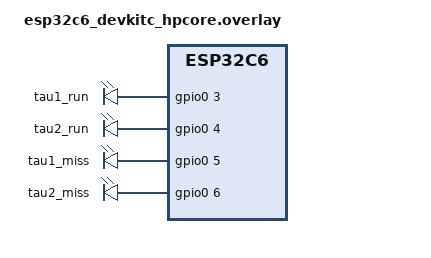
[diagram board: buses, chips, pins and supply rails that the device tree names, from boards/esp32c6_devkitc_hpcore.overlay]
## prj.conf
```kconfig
CONFIG_GPIO=y
CONFIG_SERIAL=y
CONFIG_CONSOLE=y
CONFIG_UART_CONSOLE=y
CONFIG_THREAD_NAME=y

# Both tasks run at one priority under EDF. Slicing would rotate them every
# 20 ms on top of the deadline order, so it stays off in both builds.
CONFIG_TIMESLICING=n
```

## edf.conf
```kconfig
# Week 6 Task A, second run: same two tasks, one static priority, the kernel
# orders them by the absolute deadline each job sets before it blocks.
#   west build ... -- -DEXTRA_CONF_FILE=edf.conf
CONFIG_SCHED_DEADLINE=y
```

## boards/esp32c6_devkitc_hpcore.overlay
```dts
/*
 * ESP32-C6-DevKitC-1 pins for week 6 Task A, on the node's first four
 * analyzer channels (D0..D3 = GPIO3, 4, 5, 6, same cables as weeks 3 to 5).
 *
 * The board enables i2c0 on GPIO6/GPIO7. Nothing here uses I2C, so it is
 * switched off and GPIO6 is a plain output.
 */

#include <zephyr/dt-bindings/gpio/gpio.h>

&i2c0 {
	status = "disabled";
};

/ {
	instr {
		compatible = "gpio-leds";
		tau1_run: tau1_run { gpios = <&gpio0 3 GPIO_ACTIVE_HIGH>; };
		tau2_run: tau2_run { gpios = <&gpio0 4 GPIO_ACTIVE_HIGH>; };
		tau1_miss: tau1_miss { gpios = <&gpio0 5 GPIO_ACTIVE_HIGH>; };
		tau2_miss: tau2_miss { gpios = <&gpio0 6 GPIO_ACTIVE_HIGH>; };
	};
};
```

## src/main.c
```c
/*
 * Week 6, Task A: Buttazzo's Fig. 4.13, live on the node's board.
 *
 *   tau1  C = 2 ms, T = D = 5 ms
 *   tau2  C = 4 ms, T = D = 7 ms        U = 2/5 + 4/7 = 0.971
 *
 * Default build: rate-monotonic priorities, tau1 above tau2. From the shared
 * release at t = 0, tau1 preempts tau2 at t = 5 with one unit left and tau2
 * misses its deadline at t = 7. A late job keeps running and the next release
 * stays on the absolute grid, so the set recovers inside the 35 ms hyperperiod
 * and misses again in the next one: one miss per 35 ms, 1715 in 60 s.
 *
 * With edf.conf (CONFIG_SCHED_DEADLINE=y) both threads share one static
 * priority and the kernel picks the earlier absolute deadline. U <= 1, so
 * nothing misses.
 *
 * Instrumentation, one pin per task plus one per deadline:
 *   tau1_run / tau2_run    high from the job's start to its end, and still
 *                          high while the job is preempted
 *   tau1_miss / tau2_miss  high from the missed deadline to the late job's end
 * The console prints jobs, misses, worst response and worst lateness every 5 s.
 */

#include <zephyr/kernel.h>
#include <zephyr/drivers/gpio.h>
#include <zephyr/sys/printk.h>

#define START_DELAY_MS 500 /* lets the console banner drain before t = 0 */
#define REPORT_MS      5000

#ifdef CONFIG_SCHED_DEADLINE
#define TAU1_PRIO 1 /* EDF orders threads within one priority by deadline */
#define TAU2_PRIO 1
#define POLICY    "EDF"
#else
#define TAU1_PRIO 1 /* RM: the shorter period gets the higher priority */
#define TAU2_PRIO 2
#define POLICY    "RM"
#endif
#define REPORT_PRIO 14 /* below both: it only runs in the 2.9 % they leave */

#define PIN(node) GPIO_DT_SPEC_GET_OR(DT_NODELABEL(node), gpios, {0})

static inline void pin_set(const struct gpio_dt_spec *p, int v)
{
	if (p->port) {
		gpio_pin_set_dt(p, v);
	}
}

/* ---- Computation: a busy-wait that counts work, not time ------------------ */

/* k_busy_wait() spins on the clock: a job preempted halfway would "finish" on
 * time with half its work undone. A loop of N iterations only advances while
 * the thread holds the CPU, which is what C means. N is calibrated at boot. */
static uint32_t loops_per_ms;

static void spin_loops(uint32_t n)
{
	for (volatile uint32_t i = 0; i < n; i++) {
	}
}

static void spin_ms(uint32_t ms)
{
	spin_loops(ms * loops_per_ms);
}

static void calibrate(void)
{
	const uint32_t probe = 200000;

	/* Interrupts locked so nothing stretches the reference run; the first
	 * pass only warms the cache. */
	for (int pass = 0; pass < 2; pass++) {
		unsigned int key = irq_lock();
		uint32_t t0 = k_cycle_get_32();

		spin_loops(probe);
		uint32_t dt = k_cycle_get_32() - t0;

		irq_unlock(key);
		loops_per_ms = (uint64_t)probe * sys_clock_hw_cycles_per_sec() /
			       (1000ULL * dt);
	}
}

/* ---- The task set --------------------------------------------------------- */

struct rt_task {
	const char *name;
	uint32_t c_ms;
	uint32_t t_ms; /* D = T */
	int prio;
	struct gpio_dt_spec run;
	struct gpio_dt_spec miss;
	struct k_timer dl_timer;
	atomic_t busy; /* job released and not finished: read by dl_timer */

	/* written by the task only, read by the reporter */
	uint32_t jobs;
	uint32_t misses;
	uint32_t r_max_us;    /* release -> end */
	uint32_t late_max_us; /* deadline -> end, misses only */
	uint32_t wake_max_us; /* release -> start, under 1 ms: the kernel's wake-up
			       * cost for tau1 under RM, plus the other job's tail
			       * otherwise */
};

static struct rt_task tasks[] = {
	{ .name = "tau1", .c_ms = 2, .t_ms = 5, .prio = TAU1_PRIO,
	  .run = PIN(tau1_run), .miss = PIN(tau1_miss) },
	{ .name = "tau2", .c_ms = 4, .t_ms = 7, .prio = TAU2_PRIO,
	  .run = PIN(tau2_run), .miss = PIN(tau2_miss) },
};

static int64_t start_ms; /* common first release: the critical instant */

/* Fires at each deadline. If the job is still running, it just missed. */
static void dl_expired(struct k_timer *timer)
{
	struct rt_task *t = CONTAINER_OF(timer, struct rt_task, dl_timer);

	if (atomic_get(&t->busy)) {
		pin_set(&t->miss, 1);
	}
}

static uint32_t cyc_to_us(uint64_t cyc)
{
	return (uint32_t)k_cyc_to_us_floor64(cyc);
}

static void task_thread(void *p1, void *p2, void *p3)
{
	struct rt_task *t = p1;
	int64_t release = start_ms;

	ARG_UNUSED(p2);
	ARG_UNUSED(p3);

	for (;;) {
		int64_t deadline = release + t->t_ms;
		/* The kernel keeps cycles = ticks * cycles-per-tick, so a time in ms
		 * maps exactly onto k_cycle_get_64(). */
		uint64_t rel_cyc = k_ms_to_cyc_floor64(release);
		uint64_t dl_cyc = k_ms_to_cyc_floor64(deadline);

#ifdef CONFIG_SCHED_DEADLINE
		/* Before blocking, not after waking: the wake-up already competes
		 * with whatever deadline the thread holds, and setting the new one
		 * later does not reschedule. The run would look like RM. */
		k_thread_absolute_deadline_set(k_current_get(), (int)(uint32_t)dl_cyc);
#endif
		/* A late job must start at once. k_sleep() to an absolute time
		 * already past does not return at once: it still waits for the next
		 * tick, up to 1 ms of idle CPU that makes the following job late as
		 * well. Measured: without this check tau2 missed 717 of 717. */
		if (k_cycle_get_64() < rel_cyc) {
			k_sleep(K_TIMEOUT_ABS_MS(release));
		}

		/* Armed after the wake-up: a job still finishing the previous one
		 * gets here late, and its own deadline only counts once released. */
		atomic_set(&t->busy, 1);
		k_timer_start(&t->dl_timer, K_TIMEOUT_ABS_MS(deadline), K_NO_WAIT);

		uint64_t begin = k_cycle_get_64();

		pin_set(&t->run, 1);
		spin_ms(t->c_ms);
		pin_set(&t->run, 0);

		uint64_t end = k_cycle_get_64();

		atomic_set(&t->busy, 0);
		pin_set(&t->miss, 0);

		t->jobs++;
		t->r_max_us = MAX(t->r_max_us, cyc_to_us(end - rel_cyc));
		if (end > dl_cyc) {
			t->misses++;
			t->late_max_us = MAX(t->late_max_us, cyc_to_us(end - dl_cyc));
		}
		if (begin >= rel_cyc && begin - rel_cyc < k_ms_to_cyc_floor64(1)) {
			t->wake_max_us = MAX(t->wake_max_us, cyc_to_us(begin - rel_cyc));
		}

		release += t->t_ms;
	}
}

K_THREAD_STACK_ARRAY_DEFINE(task_stacks, ARRAY_SIZE(tasks), 1024);
static struct k_thread task_threads[ARRAY_SIZE(tasks)];

int main(void)
{
	for (size_t i = 0; i < ARRAY_SIZE(tasks); i++) {
		struct rt_task *t = &tasks[i];

		if (t->run.port) {
			gpio_pin_configure_dt(&t->run, GPIO_OUTPUT_INACTIVE);
		}
		if (t->miss.port) {
			gpio_pin_configure_dt(&t->miss, GPIO_OUTPUT_INACTIVE);
		}
		k_timer_init(&t->dl_timer, dl_expired, NULL);
	}

	calibrate();

	/* Check the calibration against the clock, uncontended. */
	uint32_t t0 = k_cycle_get_32();

	spin_ms(2);
	uint32_t spin2_us = cyc_to_us(k_cycle_get_32() - t0);

	printk("\nfig413 %s  tau1 C=2 T=5  tau2 C=4 T=7  U=0.971\n", POLICY);
	printk("loops_per_ms=%u  spin_ms(2)=%u us\n", loops_per_ms, spin2_us);

	k_thread_priority_set(k_current_get(), REPORT_PRIO);

	/* Rounded to a whole ms so every release lands on a tick. */
	start_ms = k_uptime_get() + START_DELAY_MS;
	for (size_t i = 0; i < ARRAY_SIZE(tasks); i++) {
		struct rt_task *t = &tasks[i];
		k_tid_t tid = k_thread_create(&task_threads[i], task_stacks[i],
					      K_THREAD_STACK_SIZEOF(task_stacks[i]),
					      task_thread, t, NULL, NULL,
					      t->prio, 0, K_NO_WAIT);
		k_thread_name_set(tid, t->name);
	}

	for (int64_t next = start_ms + REPORT_MS;; next += REPORT_MS) {
		k_sleep(K_TIMEOUT_ABS_MS(next));
		printk("t=%2d s", (int)((next - start_ms) / 1000));
		for (size_t i = 0; i < ARRAY_SIZE(tasks); i++) {
			struct rt_task *t = &tasks[i];

			printk("  %s jobs=%u miss=%u Rmax=%u us late_max=%u us wake_max=%u us",
			       t->name, t->jobs, t->misses, t->r_max_us,
			       t->late_max_us, t->wake_max_us);
		}
		printk("\n");
	}
	return 0;
}
```
